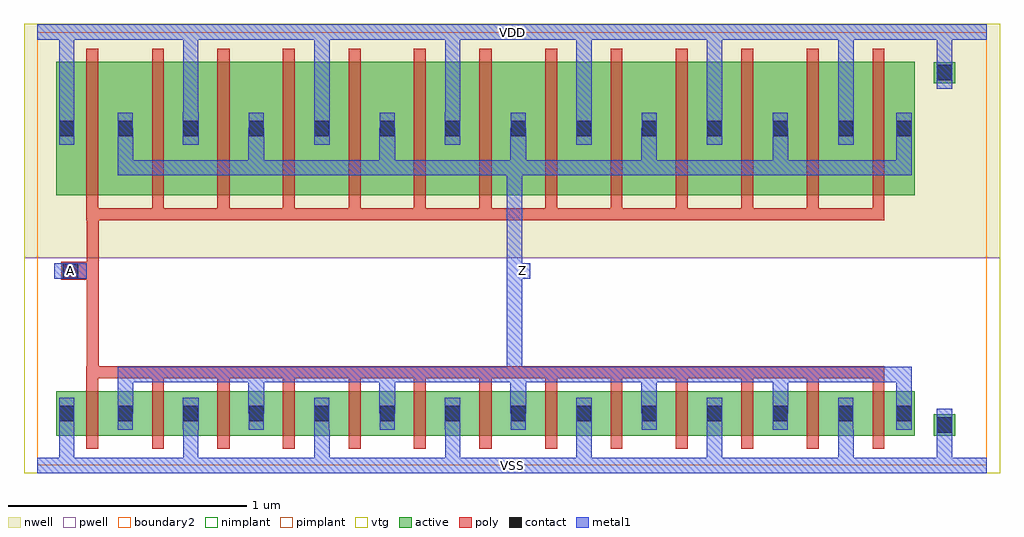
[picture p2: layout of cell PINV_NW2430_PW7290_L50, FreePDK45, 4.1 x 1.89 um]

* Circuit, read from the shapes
.subckt PINV_NW2430_PW7290_L50 A VDD VSS Z
M1 Z A VSS VSS nfet w=0.187u l=0.05u m=7
M2 VSS A Z VSS nfet w=0.187u l=0.049u m=3
M3 Z A VSS VSS nfet w=0.187u l=0.051u m=3
M4 Z A VDD VDD pfet w=0.56u l=0.05u m=7
M5 VDD A Z VDD pfet w=0.56u l=0.049u m=3
M6 Z A VDD VDD pfet w=0.56u l=0.051u m=3
.ends

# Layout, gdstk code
import gdstk
lib = gdstk.Library(unit=1e-6, precision=1e-09)
def R(c, l, rs):  # rectangles x0, y0, x1, y1
    for r in rs: c.add(gdstk.rectangle(r[:2], r[2:], *l))
def A(c, l, x, y, w, h, nx, ny, dx, dy):  # array of equal rectangles
    R(c, l, [(x+i*dx, y+j*dy, x+i*dx+w, y+j*dy+h) for i in range(nx) for j in range(ny)])
active = (1, 0)
pwell = (2, 0)
nwell = (3, 0)
nimplant = (4, 0)
pimplant = (5, 0)
vtg = (6, 0)
poly = (9, 0)
contact = (10, 0)
metal1 = (11, 0)
boundary2 = (239, 0)

transmission_gate_nw250_ = lib.new_cell('TRANSMISSION_GATE_NW250_PW500_L50_contact_8')
R(transmission_gate_nw250_, active, [(0,0.022,0.09,0.112)])
R(transmission_gate_nw250_, nwell, [(-0.055,-0.033,0.145,0.168)])
R(transmission_gate_nw250_, pimplant, [(0,0.022,0.09,0.112)])
R(transmission_gate_nw250_, contact, [(0.013,0.035,0.077,0.1)])
R(transmission_gate_nw250_, metal1, [(0.013,0,0.077,0.135)])
R(transmission_gate_nw250_, boundary2, [(-0.055,-0.033,0.145,0.168)])

pinv_nw2430_pw7290_l50_p = lib.new_cell('PINV_NW2430_PW7290_L50_pmos_m13_w0_560_sm1_dm1_da_p')
R(pinv_nw2430_pw7290_l50_p, active, [(0,0,3.605,0.56)])
R(pinv_nw2430_pw7290_l50_p, nwell, [(-0.08,-0.08,3.685,0.64)])
R(pinv_nw2430_pw7290_l50_p, pimplant, [(0,0,3.605,0.56)])
R(pinv_nw2430_pw7290_l50_p, vtg, [(-0.08,-0.08,3.685,0.64)])
A(pinv_nw2430_pw7290_l50_p, poly, 0.677, -0.055, 0.051, 0.67, 3, 1, 1.1, 0)
R(pinv_nw2430_pw7290_l50_p, poly, [(0.127,-0.105,3.477,-0.055), (0.127,-0.055,0.177,0.615), (0.403,-0.055,0.452,0.615), (0.952,-0.055,1.002,0.615), (1.228,-0.055,1.278,0.615), (1.502,-0.055,1.552,0.615), (2.053,-0.055,2.103,0.615), (2.328,-0.055,2.377,0.615), (2.602,-0.055,2.652,0.615), (3.152,-0.055,3.202,0.615), (3.428,-0.055,3.477,0.615)])
A(pinv_nw2430_pw7290_l50_p, metal1, 0.807, 0.115, 0.066, 0.165, 3, 1, 0.55, 0)
R(pinv_nw2430_pw7290_l50_p, metal1, [(0.258,0.083,3.593,0.147), (0.258,0.115,0.323,0.28), (2.457,0.115,2.522,0.28), (3.008,0.115,3.073,0.28), (3.527,0.115,3.593,0.28), (0.013,0.212,0.077,0.348), (0.532,0.212,0.598,0.348), (1.083,0.212,1.147,0.348), (1.632,0.212,1.697,0.348), (2.183,0.212,2.248,0.348), (2.732,0.212,2.797,0.348), (3.283,0.212,3.347,0.348)])
R(pinv_nw2430_pw7290_l50_p, boundary2, [(-0.08,-0.105,3.685,0.64)])
pinv_nw2430_pw7290_l50_p.add(gdstk.Reference(transmission_gate_nw250_, (0,0.212)))
pinv_nw2430_pw7290_l50_p.add(gdstk.Reference(transmission_gate_nw250_, (0.245,0.212)))
pinv_nw2430_pw7290_l50_p.add(gdstk.Reference(transmission_gate_nw250_, (0.52,0.212)))
pinv_nw2430_pw7290_l50_p.add(gdstk.Reference(transmission_gate_nw250_, (0.795,0.212)))
pinv_nw2430_pw7290_l50_p.add(gdstk.Reference(transmission_gate_nw250_, (1.07,0.212)))
pinv_nw2430_pw7290_l50_p.add(gdstk.Reference(transmission_gate_nw250_, (1.345,0.212)))
pinv_nw2430_pw7290_l50_p.add(gdstk.Reference(transmission_gate_nw250_, (1.62,0.212)))
pinv_nw2430_pw7290_l50_p.add(gdstk.Reference(transmission_gate_nw250_, (1.895,0.212)))
pinv_nw2430_pw7290_l50_p.add(gdstk.Reference(transmission_gate_nw250_, (2.17,0.212)))
pinv_nw2430_pw7290_l50_p.add(gdstk.Reference(transmission_gate_nw250_, (2.445,0.212)))
pinv_nw2430_pw7290_l50_p.add(gdstk.Reference(transmission_gate_nw250_, (2.72,0.212)))
pinv_nw2430_pw7290_l50_p.add(gdstk.Reference(transmission_gate_nw250_, (2.995,0.212)))
pinv_nw2430_pw7290_l50_p.add(gdstk.Reference(transmission_gate_nw250_, (3.27,0.212)))
pinv_nw2430_pw7290_l50_p.add(gdstk.Reference(transmission_gate_nw250_, (3.515,0.212)))
pinv_nw2430_pw7290_l50_p.add(gdstk.Label('G', (1.802,-0.08), layer=9, texttype=0))
pinv_nw2430_pw7290_l50_p.add(gdstk.Label('S', (2.765,0.28), layer=11, texttype=0))
pinv_nw2430_pw7290_l50_p.add(gdstk.Label('S', (1.665,0.28), layer=11, texttype=0))
pinv_nw2430_pw7290_l50_p.add(gdstk.Label('S', (2.215,0.28), layer=11, texttype=0))
pinv_nw2430_pw7290_l50_p.add(gdstk.Label('S', (3.315,0.28), layer=11, texttype=0))
pinv_nw2430_pw7290_l50_p.add(gdstk.Label('S', (0.565,0.28), layer=11, texttype=0))
pinv_nw2430_pw7290_l50_p.add(gdstk.Label('S', (0.045,0.28), layer=11, texttype=0))
pinv_nw2430_pw7290_l50_p.add(gdstk.Label('S', (1.115,0.28), layer=11, texttype=0))
pinv_nw2430_pw7290_l50_p.add(gdstk.Label('D', (1.925,0.115), layer=11, texttype=0))

c_transmission_gate_nw250_ = lib.new_cell('TRANSMISSION_GATE_NW250_PW500_L50_contact_7')
R(c_transmission_gate_nw250_, active, [(0,0.022,0.09,0.112)])
R(c_transmission_gate_nw250_, pwell, [(-0.055,-0.033,0.145,0.168)])
R(c_transmission_gate_nw250_, nimplant, [(0,0.022,0.09,0.112)])
R(c_transmission_gate_nw250_, contact, [(0.013,0.035,0.077,0.1)])
R(c_transmission_gate_nw250_, metal1, [(0.013,0,0.077,0.135)])
R(c_transmission_gate_nw250_, boundary2, [(-0.055,-0.033,0.145,0.168)])

pinv_nw2430_pw7290_l50_n = lib.new_cell('PINV_NW2430_PW7290_L50_nmos_m13_w0_188_sm1_dm1_da_p')
R(pinv_nw2430_pw7290_l50_n, active, [(0,0,3.605,0.187)])
R(pinv_nw2430_pw7290_l50_n, pwell, [(-0.08,-0.08,3.685,0.268)])
R(pinv_nw2430_pw7290_l50_n, nimplant, [(0,0,3.605,0.187)])
R(pinv_nw2430_pw7290_l50_n, vtg, [(-0.08,-0.08,3.685,0.268)])
A(pinv_nw2430_pw7290_l50_n, poly, 0.677, -0.055, 0.051, 0.297, 3, 1, 1.1, 0)
R(pinv_nw2430_pw7290_l50_n, poly, [(0.127,-0.055,0.177,0.242), (0.403,-0.055,0.452,0.242), (0.952,-0.055,1.002,0.242), (1.228,-0.055,1.278,0.242), (1.502,-0.055,1.552,0.242), (2.053,-0.055,2.103,0.242), (2.328,-0.055,2.377,0.242), (2.602,-0.055,2.652,0.242), (3.152,-0.055,3.202,0.242), (3.428,-0.055,3.477,0.242), (0.127,0.242,3.477,0.292)])
A(pinv_nw2430_pw7290_l50_n, metal1, 0.807, 0.095, 0.066, 0.165, 3, 1, 0.55, 0)
R(pinv_nw2430_pw7290_l50_n, metal1, [(0.013,0.025,0.077,0.16), (0.532,0.025,0.598,0.16), (1.083,0.025,1.147,0.16), (1.632,0.025,1.697,0.16), (2.183,0.025,2.248,0.16), (2.732,0.025,2.797,0.16), (3.283,0.025,3.347,0.16), (0.258,0.095,0.323,0.26), (2.457,0.095,2.522,0.26), (3.008,0.095,3.073,0.26), (3.527,0.095,3.593,0.26), (0.258,0.225,3.593,0.29)])
R(pinv_nw2430_pw7290_l50_n, boundary2, [(-0.08,-0.08,3.685,0.292)])
pinv_nw2430_pw7290_l50_n.add(gdstk.Reference(c_transmission_gate_nw250_, (0,0.025)))
pinv_nw2430_pw7290_l50_n.add(gdstk.Reference(c_transmission_gate_nw250_, (0.245,0.025)))
pinv_nw2430_pw7290_l50_n.add(gdstk.Reference(c_transmission_gate_nw250_, (0.52,0.025)))
pinv_nw2430_pw7290_l50_n.add(gdstk.Reference(c_transmission_gate_nw250_, (0.795,0.025)))
pinv_nw2430_pw7290_l50_n.add(gdstk.Reference(c_transmission_gate_nw250_, (1.07,0.025)))
pinv_nw2430_pw7290_l50_n.add(gdstk.Reference(c_transmission_gate_nw250_, (1.345,0.025)))
pinv_nw2430_pw7290_l50_n.add(gdstk.Reference(c_transmission_gate_nw250_, (1.62,0.025)))
pinv_nw2430_pw7290_l50_n.add(gdstk.Reference(c_transmission_gate_nw250_, (1.895,0.025)))
pinv_nw2430_pw7290_l50_n.add(gdstk.Reference(c_transmission_gate_nw250_, (2.17,0.025)))
pinv_nw2430_pw7290_l50_n.add(gdstk.Reference(c_transmission_gate_nw250_, (2.445,0.025)))
pinv_nw2430_pw7290_l50_n.add(gdstk.Reference(c_transmission_gate_nw250_, (2.72,0.025)))
pinv_nw2430_pw7290_l50_n.add(gdstk.Reference(c_transmission_gate_nw250_, (2.995,0.025)))
pinv_nw2430_pw7290_l50_n.add(gdstk.Reference(c_transmission_gate_nw250_, (3.27,0.025)))
pinv_nw2430_pw7290_l50_n.add(gdstk.Reference(c_transmission_gate_nw250_, (3.515,0.025)))
pinv_nw2430_pw7290_l50_n.add(gdstk.Label('G', (1.802,0.268), layer=9, texttype=0))
pinv_nw2430_pw7290_l50_n.add(gdstk.Label('S', (2.765,0.092), layer=11, texttype=0))
pinv_nw2430_pw7290_l50_n.add(gdstk.Label('S', (3.315,0.092), layer=11, texttype=0))
pinv_nw2430_pw7290_l50_n.add(gdstk.Label('S', (1.665,0.092), layer=11, texttype=0))
pinv_nw2430_pw7290_l50_n.add(gdstk.Label('S', (0.045,0.092), layer=11, texttype=0))
pinv_nw2430_pw7290_l50_n.add(gdstk.Label('S', (0.565,0.092), layer=11, texttype=0))
pinv_nw2430_pw7290_l50_n.add(gdstk.Label('S', (1.115,0.092), layer=11, texttype=0))
pinv_nw2430_pw7290_l50_n.add(gdstk.Label('S', (2.215,0.092), layer=11, texttype=0))
pinv_nw2430_pw7290_l50_n.add(gdstk.Label('D', (1.925,0.258), layer=11, texttype=0))

c_transmission_gate_nw250__ = lib.new_cell('TRANSMISSION_GATE_NW250_PW500_L50_contact_9')
R(c_transmission_gate_nw250__, active, [(0,0.022,0.09,0.112)])
R(c_transmission_gate_nw250__, nwell, [(-0.055,-0.033,0.145,0.168)])
R(c_transmission_gate_nw250__, nimplant, [(0,0.022,0.09,0.112)])
R(c_transmission_gate_nw250__, contact, [(0.013,0.035,0.077,0.1)])
R(c_transmission_gate_nw250__, metal1, [(0.013,0,0.077,0.135)])
R(c_transmission_gate_nw250__, boundary2, [(-0.055,-0.033,0.145,0.168)])

c_transmission_gate_nw250___ = lib.new_cell('TRANSMISSION_GATE_NW250_PW500_L50_contact_10')
R(c_transmission_gate_nw250___, active, [(0,0.022,0.09,0.112)])
R(c_transmission_gate_nw250___, pwell, [(-0.055,-0.033,0.145,0.168)])
R(c_transmission_gate_nw250___, pimplant, [(0,0.022,0.09,0.112)])
R(c_transmission_gate_nw250___, contact, [(0.013,0.035,0.077,0.1)])
R(c_transmission_gate_nw250___, metal1, [(0.013,0,0.077,0.135)])
R(c_transmission_gate_nw250___, boundary2, [(-0.055,-0.033,0.145,0.168)])

pinv_nw180_pw270_l50_con = lib.new_cell('PINV_NW180_PW270_L50_contact_11')
R(pinv_nw180_pw270_l50_con, poly, [(0.03,0,0.105,0.075)])
R(pinv_nw180_pw270_l50_con, contact, [(0.035,0.005,0.1,0.07)])
R(pinv_nw180_pw270_l50_con, metal1, [(0,0.005,0.135,0.07)])
R(pinv_nw180_pw270_l50_con, boundary2, [(0,0,0.135,0.075)])

pinv_nw2430_pw7290_l50_c = lib.new_cell('PINV_NW2430_PW7290_L50_core')
R(pinv_nw2430_pw7290_l50_c, pwell, [(-0.055,-0.033,4.043,0.873)])
R(pinv_nw2430_pw7290_l50_c, nwell, [(-0.055,0.873,4.043,1.855)])
R(pinv_nw2430_pw7290_l50_c, vtg, [(-0.055,-0.033,4.043,0.873), (-0.055,0.873,4.043,1.855)])
R(pinv_nw2430_pw7290_l50_c, poly, [(0.208,0.417,0.258,1.03), (0.14,0.78,0.208,0.855)])
R(pinv_nw2430_pw7290_l50_c, metal1, [(0,-0.033,3.988,0.033), (0.092,-0.033,0.157,0.15), (0.613,-0.033,0.677,0.15), (1.163,-0.033,1.228,0.15), (1.713,-0.033,1.777,0.15), (2.263,-0.033,2.328,0.15), (2.812,-0.033,2.877,0.15), (3.363,-0.033,3.428,0.15), (3.777,0,3.843,0.17), (1.973,0.35,2.037,1.282), (0.072,0.785,0.208,0.85), (2.005,0.785,2.07,0.85), (0.092,1.347,0.157,1.852), (0.613,1.347,0.677,1.852), (1.163,1.347,1.228,1.852), (1.713,1.347,1.777,1.852), (2.263,1.347,2.328,1.852), (2.812,1.347,2.877,1.852), (3.363,1.347,3.428,1.852), (3.777,1.65,3.843,1.82), (0,1.787,3.988,1.852)])
R(pinv_nw2430_pw7290_l50_c, boundary2, [(0,0,3.988,1.82), (0,0,3.988,1.82)])
pinv_nw2430_pw7290_l50_c.add(gdstk.Reference(pinv_nw2430_pw7290_l50_p, (0.08,1.135)))
pinv_nw2430_pw7290_l50_c.add(gdstk.Reference(pinv_nw2430_pw7290_l50_n, (0.08,0.125)))
pinv_nw2430_pw7290_l50_c.add(gdstk.Reference(c_transmission_gate_nw250__, (3.765,1.582)))
pinv_nw2430_pw7290_l50_c.add(gdstk.Reference(c_transmission_gate_nw250___, (3.765,0.103)))
pinv_nw2430_pw7290_l50_c.add(gdstk.Reference(pinv_nw180_pw270_l50_con, (0.072,0.78)))
pinv_nw2430_pw7290_l50_c.add(gdstk.Label('A', (0.14,0.817), layer=11, texttype=0))
pinv_nw2430_pw7290_l50_c.add(gdstk.Label('Z', (2.037,0.817), layer=11, texttype=0))
pinv_nw2430_pw7290_l50_c.add(gdstk.Label('gnd', (1.994,0), layer=11, texttype=0))
pinv_nw2430_pw7290_l50_c.add(gdstk.Label('vdd', (1.994,1.82), layer=11, texttype=0))

pinv_nw2430_pw7290_l50 = lib.new_cell('PINV_NW2430_PW7290_L50')
R(pinv_nw2430_pw7290_l50, metal1, [(0,-0.033,3.988,0.033), (0.072,0.785,0.208,0.85), (2.005,0.785,2.07,0.85), (0,1.787,3.988,1.852)])
R(pinv_nw2430_pw7290_l50, boundary2, [(0,0,3.988,1.82)])
pinv_nw2430_pw7290_l50.add(gdstk.Reference(pinv_nw2430_pw7290_l50_c, (0,0)))
pinv_nw2430_pw7290_l50.add(gdstk.Label('A', (0.14,0.817), layer=11, texttype=0))
pinv_nw2430_pw7290_l50.add(gdstk.Label('Z', (2.037,0.817), layer=11, texttype=0))
pinv_nw2430_pw7290_l50.add(gdstk.Label('VDD', (1.994,1.82), layer=11, texttype=0))
pinv_nw2430_pw7290_l50.add(gdstk.Label('VSS', (1.994,0), layer=11, texttype=0))

lib.write_gds('PINV_NW2430_PW7290_L50.gds')
